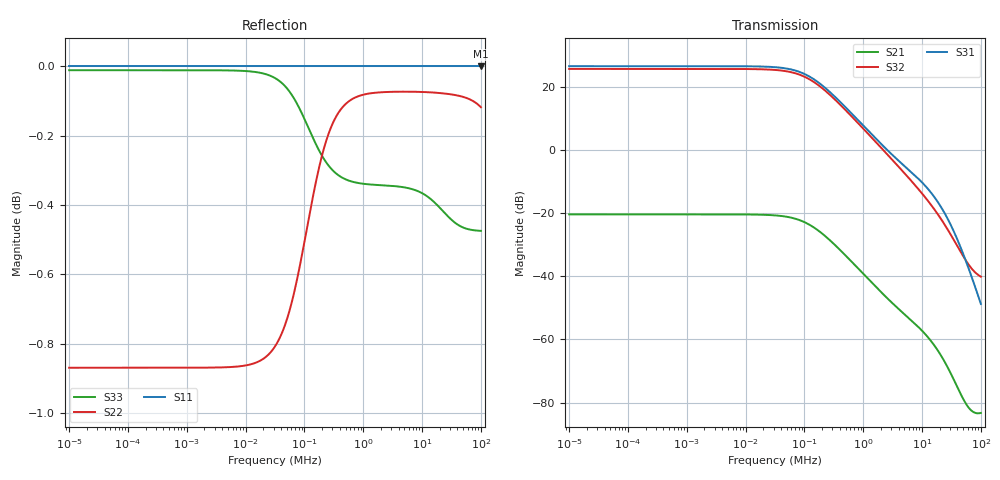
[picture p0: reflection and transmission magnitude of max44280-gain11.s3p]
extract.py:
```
"""Extract a biased, small-signal three-port for use in the ADS AFE deck."""
import os
from pathlib import Path
import subprocess
import sys
import tempfile

import numpy as np

HERE = Path(__file__).resolve().parent
sys.path.insert(0, str(HERE.parents[1] / "ltspice/afe"))
from read_ltspice_raw import read_raw

EXE = Path(os.environ["LOCALAPPDATA"]) / "Programs/ADI/LTspice/LTspice.exe"
PORTS = ("plus", "gain_return", "pre_out")


def extract():
    columns = []
    for active in range(3):
        text = ["MAX44280 gain-11 AC fixture", ".lib MAX44280.sub",
                ".options numdgt=10 plotwinsize=0", ".temp 27",
                "Vdd avdd 0 3", "Vbias vmid 0 1.5",
                "Lbias1 plus vmid 1e10", "Lbias2 gain_return vmid 1e10",
                "Rf pre_out minus 10k", "Rg minus gain_return 1k",
                "Xu plus minus avdd 0 pre_out avdd MAX44280"]
        for i, node in enumerate(PORTS):
            text.extend([f"Vp{i} src{i} 0 DC 0 AC {int(i == active)}",
                         f"Rp{i} src{i} p{i} 50", f"Cp{i} p{i} {node} 1000"])
        text.extend([".ac dec 100 10 100Meg", ".save V(p0) V(p1) V(p2)", ".end"])
        with tempfile.TemporaryDirectory() as folder:
            path = Path(folder)
            (path / "stage.cir").write_text("\n".join(text)+"\n")
            subprocess.run([EXE, "-b", "stage.cir"], cwd=path, timeout=120, check=True)
            data = read_raw(path / "stage.raw")
        freq = data.data[:, 0].real
        columns.append(np.array([2*data.trace(f"V(p{i})") - int(i == active) for i in range(3)]))
    matrix = np.stack(columns, axis=1)
    with (HERE / "max44280-gain11.s3p").open("w") as out:
        out.write("! Simulated linearized three-port, 3.0 V supply, 1.5 V common mode, 27 C.\n")
        out.write("! 1 noninverting input, 2 bottom of 1k gain resistor, 3 output. Includes 10k/1k network.\n")
        out.write("! Touchstone v1 three-port row order S11 S12 S13 / S21 S22 S23 / S31 S32 S33.\n# Hz S RI R 50\n")
        for k, frequency in enumerate(freq):
            for i in range(3):
                prefix = f"{frequency:.13g} " if i == 0 else "  "
                pairs = [f"{v.real:.16g} {v.imag:.16g}" for v in matrix[i, :, k]]
                out.write(prefix + " ".join(pairs) + "\n")


if __name__ == "__main__":
    extract()
```
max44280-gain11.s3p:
! Simulated linearized three-port, 3.0 V supply, 1.5 V common mode, 27 C.
! 1 noninverting input, 2 bottom of 1k gain resistor, 3 output. Includes 10k/1k network.
! Touchstone v1 three-port row order S11 S12 S13 / S21 S22 S23 / S31 S32 S33.
# Hz S RI R 50
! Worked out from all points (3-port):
!   701 points, 10 Hz to 100 MHz, reference 50 ohm
!   strongest paths, dB at 10 Hz, 562.3 Hz, 31.62 kHz, 1.778 MHz, 100 MHz:
!     S31: 26.5, 26.5, 26.1, 2.9, -48.8
!     S32: 25.6, 25.6, 25.3, 1.7, -40.1
!     S21: -20.4, -20.4, -20.7, -44.0, -83.3
!   lowest |S11| = 0.0 dB at 100 MHz (marker M1)
!   |S11| at or under -10 dB: nowhere
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10  1 -2.55e-09  5.71e-15 4.7e-15  5.83e-16 4.8e-16
    0.0952 -8.3e-06  0.9048 7.58e-06  6.04e-06 7.74e-07
    21.03 -0.00183  -19.03 0.00167  -0.9987 0.00017
19054.61  1 -6.29e-06  -1.77e-09 3.03e-10  -1.8e-10 3.09e-11
          0.0926 -0.0154  0.9072 0.014  0.000245 0.00144
          20.47 -3.401  -18.52 3.105  -0.9459 0.3172
114815.4  1 -2.9e-05  -3.29e-08 3.3e-08  -3.36e-09 3.37e-09
          0.0475 -0.0476  0.9483 0.0434  0.00445 0.00443
          10.51 -10.51  -9.421 9.592  -0.0165 0.98
575439.9  1 -0.000193  -6.26e-08 3.17e-07  -6.39e-09 3.24e-08
          0.00369 -0.0183  0.9884 0.0164  0.00854 0.00168
          0.8219 -4.037  -0.5795 3.67  0.8867 0.3749
1e8  0.9997 -0.0253  1.36e-05 5.36e-05  1.39e-06 5.48e-06
     7.31e-06 6.83e-05  0.9863 -0.0196  0.00833 -0.002
     -0.00217 0.00292  0.00906 -0.00382  0.9468 -0.000628
